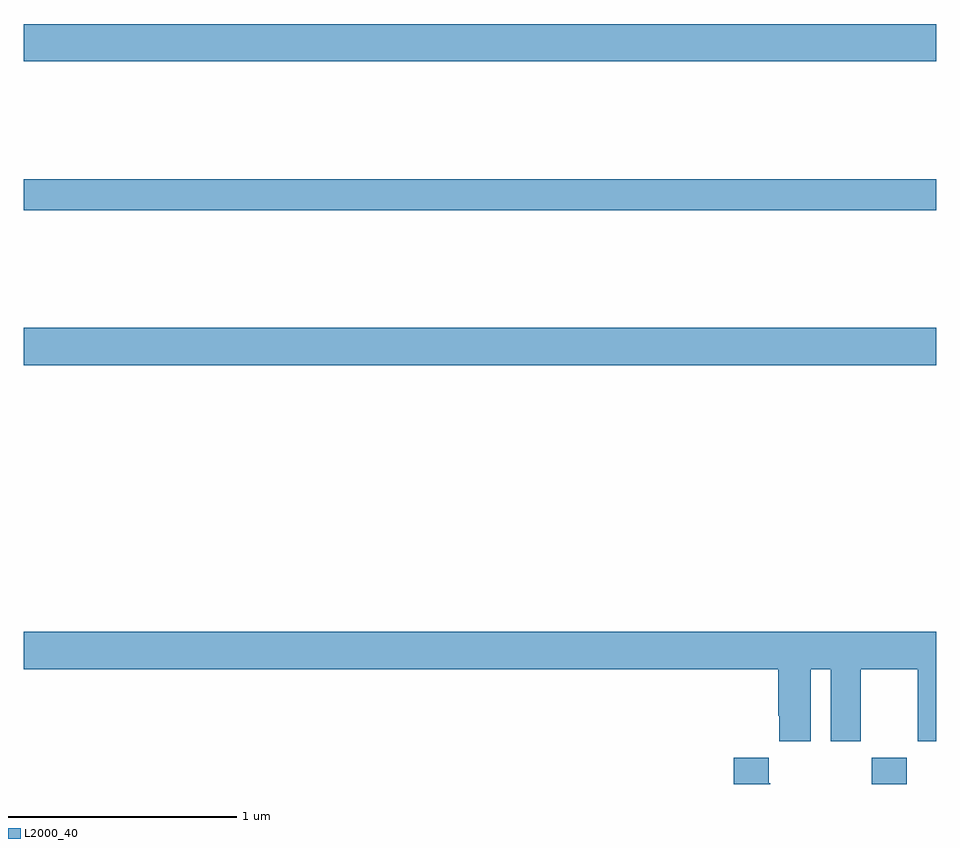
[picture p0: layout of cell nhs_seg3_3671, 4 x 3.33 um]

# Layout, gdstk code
import gdstk
lib = gdstk.Library(unit=1e-6, precision=1e-09)
def R(c, l, rs):  # rectangles x0, y0, x1, y1
    for r in rs: c.add(gdstk.rectangle(r[:2], r[2:], *l))
def P(c, l, *ps):  # polygons
    for p in ps: c.add(gdstk.Polygon(p, *l))
L2000_40 = (2000, 40)

nhs_seg3_3671 = lib.new_cell('nhs_seg3_3671')
R(nhs_seg3_3671, L2000_40, [(304.717,712.4,304.872,712.516), (301,714.236,305,714.4), (301,714.916,305,715.052), (301,715.568,305,715.732)])
P(nhs_seg3_3671, L2000_40, [(304.45,712.904),(304.538,712.904),(304.538,712.587),(304.669,712.587),(304.669,712.904),(304.919,712.904),(304.919,712.587),(305,712.587),(305,713.068),(301,713.068),(301,712.904),(304.307,712.904),(304.307,712.699),(304.313,712.699),(304.313,712.587),(304.45,712.587)],
  [(304.272,712.403),(304.267,712.403),(304.267,712.516),(304.112,712.516),(304.112,712.4),(304.272,712.4)])

lib.write_gds('nhs_seg3_3671.gds')
